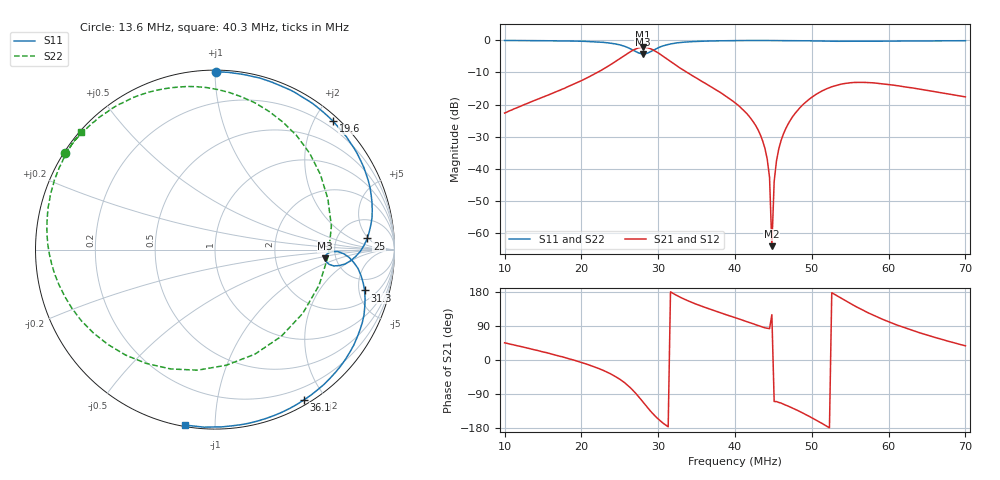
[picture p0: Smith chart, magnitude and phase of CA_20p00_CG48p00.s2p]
#  HZ  S  RI  R  50.00
! Rohde & Schwarz ZVT8 8Ports - Version 4.11 - 1300.0000k08 SN: 100242
! Date: 2026-07-31 14:29:13
! Measurements: S11 S21 S12 S22
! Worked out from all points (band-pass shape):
!   201 points, 10 MHz to 70 MHz, reference 50 ohm
!   highest |S21| = -2.12 dB at 28 MHz (marker M1); lowest = -64.1 dB at 44.8 MHz (marker M2)
!   |S21| within 3 dB of the highest: 25.33 MHz to 30.74 MHz (5.409 MHz wide, 19.3 % of centre)
!   lowest |S11| = -4.2 dB at 28 MHz (marker M3), VSWR 4.20, Z = 204 - j32.4 ohm
!   |S11| at or under -10 dB: nowhere
!   |S22| runs from -4.4 to 0.0 dB; largest |S21 - S12| = 0.0028
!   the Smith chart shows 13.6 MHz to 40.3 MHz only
!   S11 on the Smith chart (normalised r, x): 13.6 MHz: 0.01, +1.00; 19.6 MHz: 0.09, +2.27; 25 MHz: 10, +5; 31.3 MHz: 3.19, -5.72; 36.1 MHz: 0.06, -1.75; 40.3 MHz: 0.01, -0.84
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1e7  -0.4091 0.9091  0.0518 0.0525  0.0516 0.0524  -0.9166 0.3904
1.36e7  0.00301 0.9911  0.0986 0.0536  0.0987 0.0528  -0.8337 0.5364
1.96e7  0.6575 0.7156  0.2235 -0.0156  0.2237 -0.0151  -0.5603 0.7943
2.02e7  0.7065 0.6596  0.2404 -0.0324  0.2398 -0.0324  -0.5129 0.8187
2.5e7  0.849 0.062  0.3281 -0.4029  0.3272 -0.4042  0.2243 0.817
2.8e7  0.6132 -0.0493  -0.2724 -0.7345  -0.2697 -0.7351  0.489 -0.3554
3.01e7  0.7723 -0.0705  -0.579 -0.2394  -0.5771 -0.2397  -0.4988 -0.5873
3.13e7  0.8332 -0.2275  -0.4971 -0.032  -0.4967 -0.0324  -0.7979 -0.3259
3.61e7  0.4963 -0.8371  -0.1619 0.142  -0.1611 0.1416  -0.8945 0.3891
4e7  -0.1137 -0.9836  -0.0395 0.0991  -0.0395 0.099  -0.7581 0.6413
4.03e7  -0.1657 -0.9777  -0.0338 0.0943  -0.0336 0.0938  -0.7469 0.6553
4.39e7  -0.7605 -0.6416  0.00185 0.0207  0.00189 0.0206  -0.6065 0.7914
4.45e7  -0.8378 -0.5365  0.00092 0.00722  0.000851 0.00728  -0.5834 0.8095
4.48e7  -0.8722 -0.4775  -0.000307 0.000542  -0.000302 0.000527  -0.5714 0.8176
4.51e7  -0.9033 -0.4164  -0.00213 -0.00599  -0.00213 -0.00599  -0.5597 0.8269
4.6e7  -0.9719 -0.2132  -0.0111 -0.0253  -0.0112 -0.0251  -0.5238 0.8489
5.02e7  -0.4975 0.8464  -0.1221 -0.058  -0.1219 -0.0577  -0.3544 0.9224
5.26e7  0.3366 0.9109  -0.1894 0.00821  -0.189 0.00816  -0.2628 0.9428
5.53e7  0.9455 0.1973  -0.1825 0.123  -0.182 0.1229  -0.1691 0.9573
6.01e7  0.33 -0.9145  -0.0361 0.2016  -0.0356 0.2008  -0.00431 0.9756
6.52e7  -0.6314 -0.7524  0.0705 0.15  0.0706 0.1493  0.1827 0.9673
7e7  -0.9822 -0.1038  0.1047 0.08  0.1046 0.0796  0.3622 0.92
